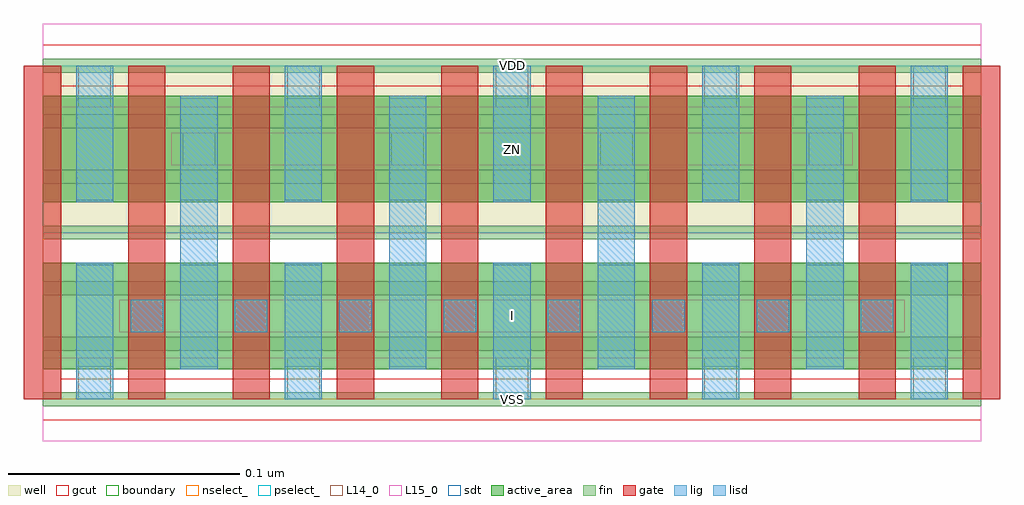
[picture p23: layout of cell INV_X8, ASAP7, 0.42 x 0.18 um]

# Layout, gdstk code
import gdstk
lib = gdstk.Library(unit=1e-6, precision=2.5e-10)
def R(c, l, rs):  # rectangles x0, y0, x1, y1
    for r in rs: c.add(gdstk.rectangle(r[:2], r[2:], *l))
def A(c, l, x, y, w, h, nx, ny, dx, dy):  # array of equal rectangles
    R(c, l, [(x+i*dx, y+j*dy, x+i*dx+w, y+j*dy+h) for i in range(nx) for j in range(ny)])
def P(c, l, *ps):  # polygons
    for p in ps: c.add(gdstk.Polygon(p, *l))
well = (1, 0)
fin = (2, 0)
gate = (7, 0)
gcut = (10, 0)
active_area = (11, 0)
nselect_ = (12, 0)
pselect_ = (13, 0)
L14_0 = (14, 0)
L15_0 = (15, 0)
lig = (16, 0)
lisd = (17, 0)
sdt = (88, 0)
boundary = (100, 0)

inv_x8 = lib.new_cell('INV_X8')
R(inv_x8, well, [(0,0.072,0.405,0.144)])
A(inv_x8, fin, 0, -0.003, 0.405, 0.006, 1, 7, 0, 0.024)
A(inv_x8, gate, -0.008, 0, 0.016, 0.144, 10, 1, 0.045, 0)
P(inv_x8, gcut, [(0,-0.009),(0,0),(-0.008,0),(-0.008,0.135),(0.008,0.135),(0.008,0.009),(0.397,0.009),(0.397,0.135),(-0.008,0.135),(-0.008,0.144),(0,0.144),(0,0.153),(0.405,0.153),(0.405,0.144),(0.413,0.144),(0.413,0),(0.405,0),(0.405,-0.009)])
R(inv_x8, active_area, [(0,0.013,0.405,0.059), (0,0.085,0.405,0.131)])
R(inv_x8, nselect_, [(0,0,0.405,0.072)])
R(inv_x8, pselect_, [(0,0.072,0.405,0.144)])
A(inv_x8, L14_0, 0.0155, 0, 0.014, 0.018, 5, 2, 0.09, 0.126)
A(inv_x8, L14_0, 0.038, 0.029, 0.014, 0.014, 8, 1, 0.045, 0)
A(inv_x8, L14_0, 0.0605, 0.101, 0.014, 0.014, 4, 1, 0.09, 0)
R(inv_x8, L15_0, [(0,-0.018,0.405,0.018), (0.033,0.029,0.372,0.043), (0.0555,0.101,0.3495,0.115), (0,0.126,0.405,0.162)])
A(inv_x8, lig, 0.038, 0.029, 0.014, 0.014, 8, 1, 0.045, 0)
A(inv_x8, lisd, 0.0145, 0, 0.016, 0.059, 5, 2, 0.09, 0.085)
A(inv_x8, lisd, 0.0595, 0.013, 0.016, 0.118, 4, 1, 0.09, 0)
A(inv_x8, sdt, 0.0145, 0.014, 0.016, 0.044, 9, 2, 0.045, 0.072)
R(inv_x8, boundary, [(0,0,0.405,0.144)])
inv_x8.add(gdstk.Label('I', (0.2025,0.036), layer=15, texttype=251))
inv_x8.add(gdstk.Label('VSS', (0.2025,0), layer=15, texttype=251))
inv_x8.add(gdstk.Label('VDD', (0.2025,0.144), layer=15, texttype=251))
inv_x8.add(gdstk.Label('ZN', (0.2025,0.108), layer=15, texttype=251))
inv_x8.add(gdstk.Label('VSS', (0.2025,0), layer=15, texttype=251))
inv_x8.add(gdstk.Label('VDD', (0.2025,0.144), layer=15, texttype=251))
inv_x8.add(gdstk.Label('VSS', (0.2025,0), layer=3, texttype=251))
inv_x8.add(gdstk.Label('VSS', (0.2025,0), layer=3, texttype=251))
inv_x8.add(gdstk.Label('VDD', (0.2025,0.144), layer=1, texttype=251))
inv_x8.add(gdstk.Label('VDD', (0.2025,0.144), layer=1, texttype=251))

lib.write_gds('INV_X8.gds')
